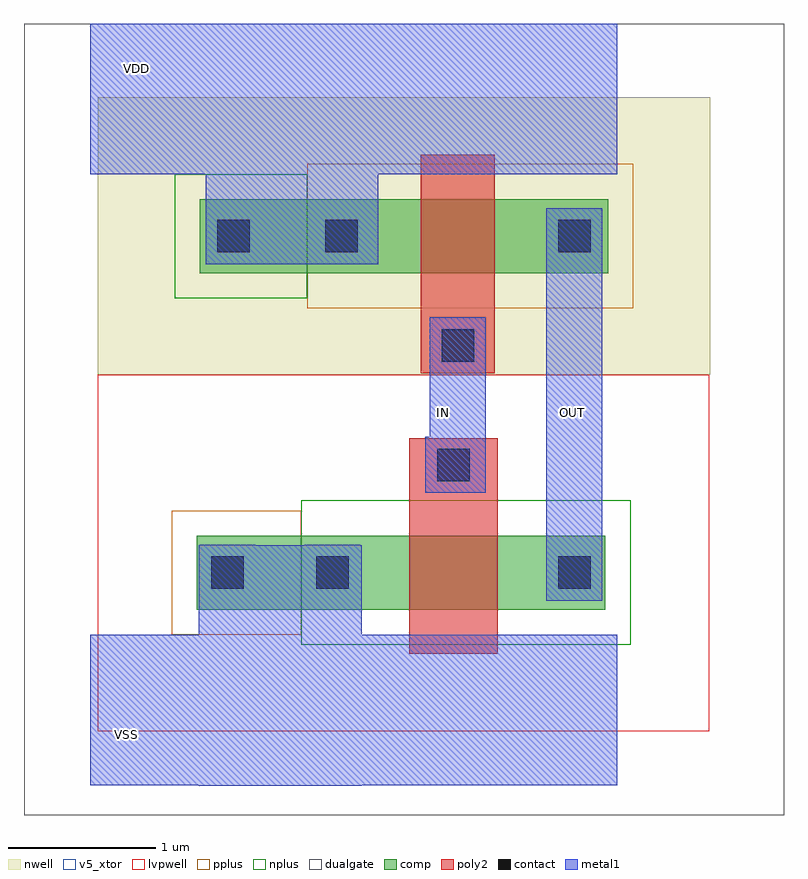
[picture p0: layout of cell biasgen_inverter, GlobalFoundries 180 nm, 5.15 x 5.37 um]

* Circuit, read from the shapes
.subckt biasgen_inverter IN OUT VDD VSS
XM1 OUT IN VSS VSS nfet_05v0 w=0.5u l=0.6u
XM2 OUT IN VDD VDD pfet_05v0 w=0.5u l=0.5u
.ends

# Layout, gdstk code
from math import pi, radians
import gdstk
lib = gdstk.Library(unit=1e-6, precision=5e-09)
def R(c, l, rs):  # rectangles x0, y0, x1, y1
    for r in rs: c.add(gdstk.rectangle(r[:2], r[2:], *l))
nwell = (21, 0)
comp = (22, 0)
poly2 = (30, 0)
pplus = (31, 0)
nplus = (32, 0)
contact = (33, 0)
metal1 = (34, 0)
dualgate = (55, 0)
v5_xtor = (112, 1)
lvpwell = (204, 0)

pfet_1 = lib.new_cell('pfet$1')
R(pfet_1, nwell, [(-1.15,-0.69,3,1.19)])
R(pfet_1, comp, [(-0.46,0,0,0.5), (0,0,1.12,0.5), (1.12,0,1.58,0.5), (1.58,0,2.31,0.5)])
R(pfet_1, poly2, [(0.31,-0.3,0.81,0.8), (0.31,0.8,0.81,1.18)])
R(pfet_1, pplus, [(-0.63,-0.24,1.58,0.74)])
R(pfet_1, nplus, [(1.58,-0.17,2.48,0.67)])
R(pfet_1, contact, [(-0.34,0.14,-0.12,0.36), (1.24,0.14,1.46,0.36), (1.97,0.14,2.19,0.36), (0.45,0.88,0.67,1.1)])
R(pfet_1, metal1, [(-0.42,0.06,-0.04,0.44), (1.16,0.06,1.54,0.44), (1.89,0.06,2.27,0.44), (0.37,0.8,0.75,1.18)])
R(pfet_1, dualgate, [(-1.65,-1.19,3.5,1.69)])
R(pfet_1, v5_xtor, [(-1.65,-1.19,3.5,1.69)])

nfet_1 = lib.new_cell('nfet$1')
R(nfet_1, comp, [(-0.42,0,0,0.5), (0,0,1.22,0.5), (1.22,0,1.64,0.5), (1.64,0,2.35,0.5)])
R(nfet_1, poly2, [(0.31,-0.3,0.91,0.8), (0.31,0.8,0.91,1.16)])
R(nfet_1, pplus, [(1.64,-0.17,2.52,0.67)])
R(nfet_1, nplus, [(-0.59,-0.24,1.64,0.74)])
R(nfet_1, contact, [(-0.32,0.14,-0.1,0.36), (1.32,0.14,1.54,0.36), (2.03,0.14,2.25,0.36), (0.5,0.87,0.72,1.09)])
R(nfet_1, metal1, [(-0.4,0.06,-0.02,0.44), (1.24,0.06,1.62,0.44), (1.95,0.06,2.33,0.44), (0.42,0.79,0.8,1.17)])
R(nfet_1, dualgate, [(-0.84,-0.71,2.77,1.58)])
R(nfet_1, v5_xtor, [(-0.84,-0.71,2.77,1.58)])

biasgen_inverter = lib.new_cell('biasgen_inverter')
R(biasgen_inverter, metal1, [(1.185,0.2,2.29,1.83), (0.45,0.205,4.02,1.225), (3.54,1.455,3.92,4.115), (2.75,2.185,3.13,3.375), (1.23,3.735,2.4,5.365), (0.45,4.345,4.02,5.365)])
R(biasgen_inverter, dualgate, [(0,0,5.15,5.365)])
R(biasgen_inverter, v5_xtor, [(0,0,5.15,5.365)])
R(biasgen_inverter, lvpwell, [(0.5,0.57,4.645,2.985)])
biasgen_inverter.add(gdstk.Reference(pfet_1, (3.5,4.175), rotation=pi))
biasgen_inverter.add(gdstk.Reference(nfet_1, (3.52,1.395), rotation=pi, x_reflection=True))
biasgen_inverter.add(gdstk.Label('VDD', (0.76,5.06), layer=34, texttype=10))
biasgen_inverter.add(gdstk.Label('VSS', (0.695,0.545), layer=34, texttype=10))
biasgen_inverter.add(gdstk.Label('IN', (2.845,2.73), layer=34, texttype=10))
biasgen_inverter.add(gdstk.Label('OUT', (3.72,2.73), layer=34, texttype=10))

lib.write_gds('biasgen_inverter.gds')
